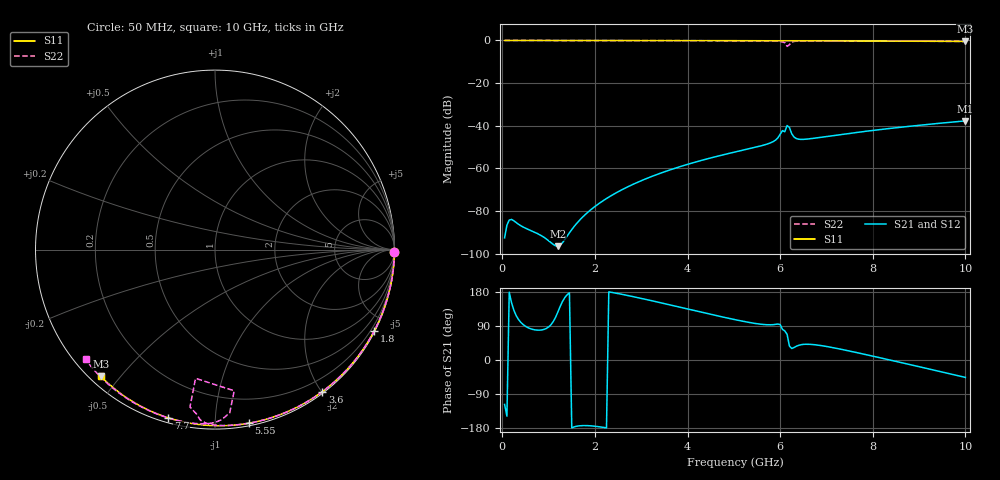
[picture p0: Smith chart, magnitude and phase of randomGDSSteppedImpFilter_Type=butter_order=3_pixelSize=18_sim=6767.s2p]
! freq	dB(S11)	phase(S11)	dB(S12)	phase(S12)
!  dB(S21)	phase(S21)	dB(S22)	phase(S22)
!S-par simulation data
#  GHz  S  DB  R 50
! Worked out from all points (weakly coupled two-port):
!   200 points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, 50 MHz to 10 GHz, reference 50 ohm
!   highest |S21| = -37.70 dB at 10 GHz (marker M1); lowest = -96.5 dB at 1.2 GHz (marker M2)
!   lowest |S11| = -0.4 dB at 10 GHz (marker M3), VSWR 38.97, Z = 1.54 - j22.2 ohm
!   |S11| at or under -10 dB: nowhere
!   |S22| runs from -2.8 to 0.0 dB; largest |S21 - S12| = 0
!   S11 on the Smith chart (normalised r, x): 50 MHz: open; 1.8 GHz: 0.04, -4.16; 3.6 GHz: 0.02, -2.01; 5.55 GHz: 0.02, -1.21; 7.7 GHz: 0.02, -0.76; 10 GHz: 0.03, -0.44
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0.05  -0.00 -0.8  -92.53 -117.4  -92.53 -117.4  -0.00 -0.8
1.2  -0.02 -18.2  -96.45 126.6  -96.45 126.6  -0.02 -19.3
1.75  -0.03 -26.3  -82.48 -173.0  -82.48 -173.0  -0.04 -28.0
1.8  -0.03 -27.1  -81.45 -173.0  -81.45 -173.0  -0.04 -28.8
1.9  -0.04 -28.5  -79.56 -173.6  -79.56 -173.6  -0.04 -30.4
2.65  -0.05 -39.4  -69.25 171.7  -69.25 171.7  -0.05 -42.0
3.4  -0.07 -50.1  -62.36 151.6  -62.36 151.6  -0.07 -53.3
3.6  -0.07 -52.9  -60.84 146.0  -60.84 146.0  -0.08 -56.3
5.05  -0.11 -72.5  -52.18 105.8  -52.18 105.8  -0.12 -77.5
5.55  -0.13 -79.0  -49.62 94.9  -49.62 94.9  -0.15 -85.0
5.85  -0.14 -82.9  -47.41 93.3  -47.41 93.3  -0.20 -90.4
6  -0.15 -84.8  -44.02 93.7  -44.02 93.7  -0.42 -95.0
6.05  -0.15 -85.4  -42.27 80.7  -42.27 80.7  -0.72 -96.5
6.1  -0.15 -86.0  -42.79 76.8  -42.79 76.8  -1.03 -99.0
6.15  -0.15 -86.6  -39.88 67.9  -39.88 67.9  -2.79 -98.6
6.2  -0.16 -87.3  -40.79 36.9  -40.79 36.9  -2.00 -82.3
6.25  -0.16 -87.9  -43.74 30.3  -43.74 30.3  -0.79 -84.9
6.35  -0.16 -89.1  -46.01 36.3  -46.01 36.3  -0.34 -89.8
6.7  -0.18 -93.5  -45.94 40.9  -45.94 40.9  -0.22 -97.2
7.7  -0.24 -105.5  -42.99 18.3  -42.99 18.3  -0.26 -110.9
8.35  -0.29 -113.2  -41.30 0.5  -41.30 0.5  -0.31 -119.2
10  -0.45 -132.1  -37.70 -46.0  -37.70 -46.0  -0.48 -139.7
